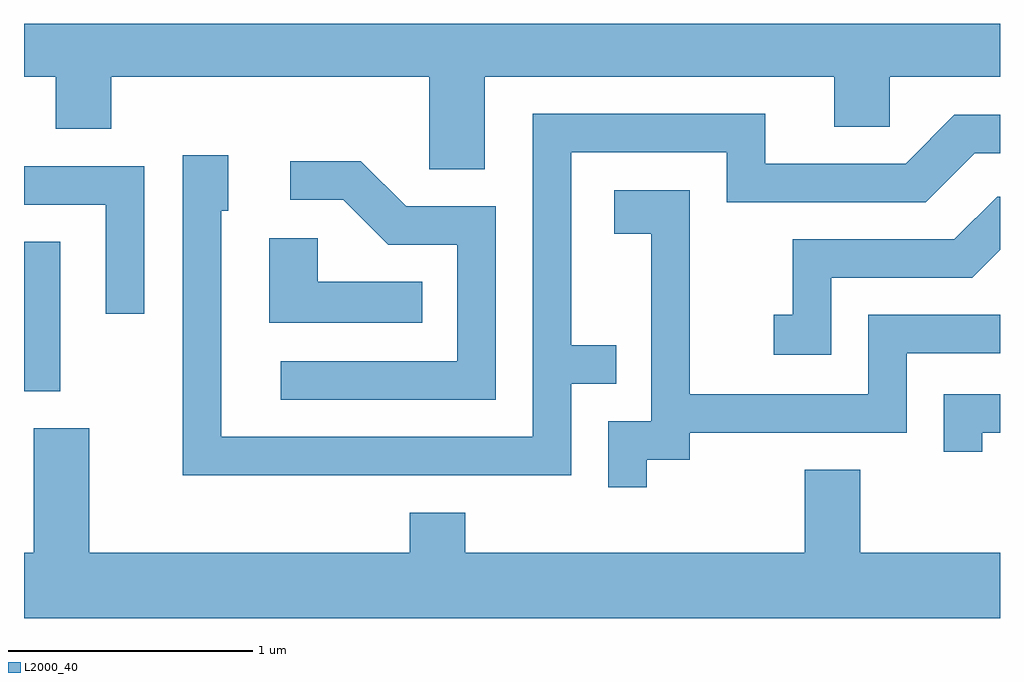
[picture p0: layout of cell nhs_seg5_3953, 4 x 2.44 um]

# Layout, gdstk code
import gdstk
lib = gdstk.Library(unit=1e-6, precision=1e-09)
def R(c, l, rs):  # rectangles x0, y0, x1, y1
    for r in rs: c.add(gdstk.rectangle(r[:2], r[2:], *l))
def P(c, l, *ps):  # polygons
    for p in ps: c.add(gdstk.Polygon(p, *l))
L2000_40 = (2000, 40)

nhs_seg5_3953 = lib.new_cell('nhs_seg5_3953')
R(nhs_seg5_3953, L2000_40, [(301.611,1506.566,301.759,1507.179)])
P(nhs_seg5_3953, L2000_40, [(303.499,1507.856),(304.931,1507.856),(304.931,1507.651),(305.159,1507.651),(305.159,1507.856),(305.611,1507.856),(305.611,1508.072),(301.611,1508.072),(301.611,1507.856),(301.741,1507.856),(301.741,1507.641),(301.969,1507.641),(301.969,1507.856),(303.271,1507.856),(303.271,1507.476),(303.499,1507.476)],
  [(303.854,1506.596),(304.038,1506.596),(304.038,1506.754),(303.854,1506.754),(303.854,1507.546),(304.491,1507.546),(304.491,1507.341),(305.307,1507.341),(305.507,1507.541),(305.611,1507.541),(305.611,1507.699),(305.424,1507.699),(305.224,1507.499),(304.649,1507.499),(304.649,1507.704),(303.696,1507.704),(303.696,1506.379),(302.419,1506.379),(302.419,1507.306),(302.449,1507.306),(302.449,1507.534),(302.261,1507.534),(302.261,1506.221),(303.854,1506.221)],
  [(303.544,1507.324),(303.177,1507.324),(302.992,1507.509),(302.703,1507.509),(302.703,1507.351),(302.919,1507.351),(303.104,1507.166),(303.386,1507.166),(303.386,1506.689),(302.663,1506.689),(302.663,1506.531),(303.544,1506.531)],
  [(302.104,1507.489),(301.611,1507.489),(301.611,1507.331),(301.946,1507.331),(301.946,1506.883),(302.104,1506.883)],
  [(304.164,1506.286),(304.339,1506.286),(304.339,1506.396),(305.229,1506.396),(305.229,1506.721),(305.611,1506.721),(305.611,1506.879),(305.071,1506.879),(305.071,1506.554),(304.339,1506.554),(304.339,1507.389),(304.031,1507.389),(304.031,1507.211),(304.181,1507.211),(304.181,1506.444),(304.006,1506.444),(304.006,1506.173),(304.164,1506.173)],
  [(304.919,1507.031),(305.497,1507.031),(305.611,1507.145),(305.611,1507.364),(305.599,1507.364),(305.424,1507.189),(304.761,1507.189),(304.761,1506.879),(304.683,1506.879),(304.683,1506.716),(304.919,1506.716)],
  [(303.243,1507.014),(302.814,1507.014),(302.814,1507.194),(302.616,1507.194),(302.616,1506.846),(303.243,1506.846)],
  [(305.539,1506.396),(305.611,1506.396),(305.611,1506.554),(305.381,1506.554),(305.381,1506.318),(305.539,1506.318)],
  [(305.611,1505.904),(305.039,1505.904),(305.039,1506.244),(304.811,1506.244),(304.811,1505.904),(303.419,1505.904),(303.419,1506.069),(303.191,1506.069),(303.191,1505.904),(301.879,1505.904),(301.879,1506.414),(301.651,1506.414),(301.651,1505.904),(301.611,1505.904),(301.611,1505.636),(305.611,1505.636)])

lib.write_gds('nhs_seg5_3953.gds')
